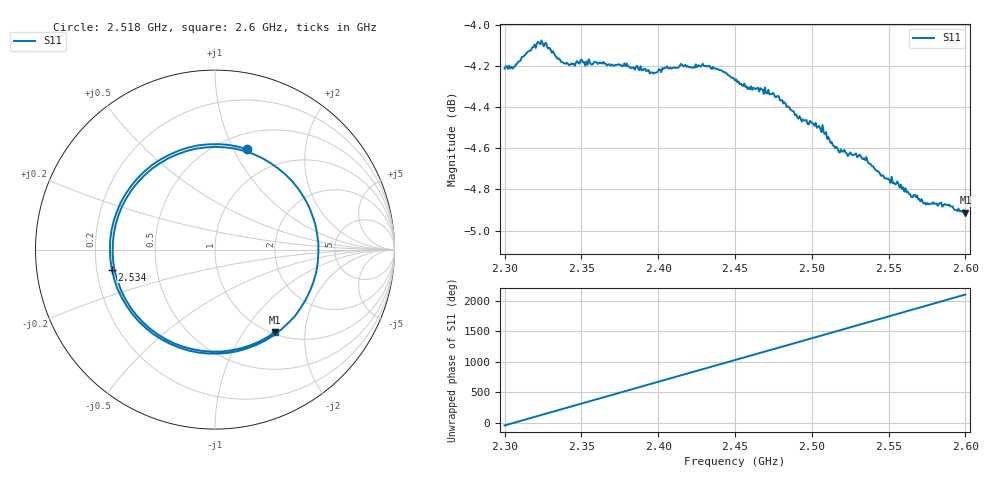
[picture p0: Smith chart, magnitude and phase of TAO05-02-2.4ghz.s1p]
! NanoVNA-App
! Date: 2026-05-22 15:32:22
! Start: 2.3GHz Stop: 2.6GHz Points: 401
! S-Parameter data: F S11
# Hz S RI R 50
!  Frequency  S11_Real  S11_Imag
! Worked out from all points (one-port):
!   401 points, 2.3 GHz to 2.6 GHz, reference 50 ohm
!   lowest |S11| = -4.9 dB at 2.6 GHz (marker M1), VSWR 3.63, Z = 51.6 - j70.1 ohm
!   |S11| at or under -10 dB: nowhere
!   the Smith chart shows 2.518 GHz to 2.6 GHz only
!   S11 on the Smith chart (normalised r, x): 2.518 GHz: 0.66, +1.13; 2.534 GHz: 0.26, -0.09; 2.6 GHz: 1.03, -1.40
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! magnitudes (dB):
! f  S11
! 2.3 GHz  -4.2
! 2.307 GHz  -4.2
! 2.322 GHz  -4.1
! 2.328 GHz  -4.1
! 2.337 GHz  -4.2
! 2.375 GHz  -4.2
! 2.396 GHz  -4.2
! 2.404 GHz  -4.2
! 2.413 GHz  -4.2
! 2.416 GHz  -4.2
! 2.432 GHz  -4.2
! 2.442 GHz  -4.2
! 2.45 GHz  -4.3
! 2.458 GHz  -4.3
! 2.468 GHz  -4.3
! 2.476 GHz  -4.4
! 2.487 GHz  -4.4
! 2.492 GHz  -4.4
! 2.506 GHz  -4.5
! 2.514 GHz  -4.6
! 2.518 GHz  -4.6
! 2.525 GHz  -4.6
! 2.534 GHz  -4.6
! 2.546 GHz  -4.7
! 2.562 GHz  -4.8
! 2.575 GHz  -4.9
! 2.588 GHz  -4.9
! 2.6 GHz  -4.9
